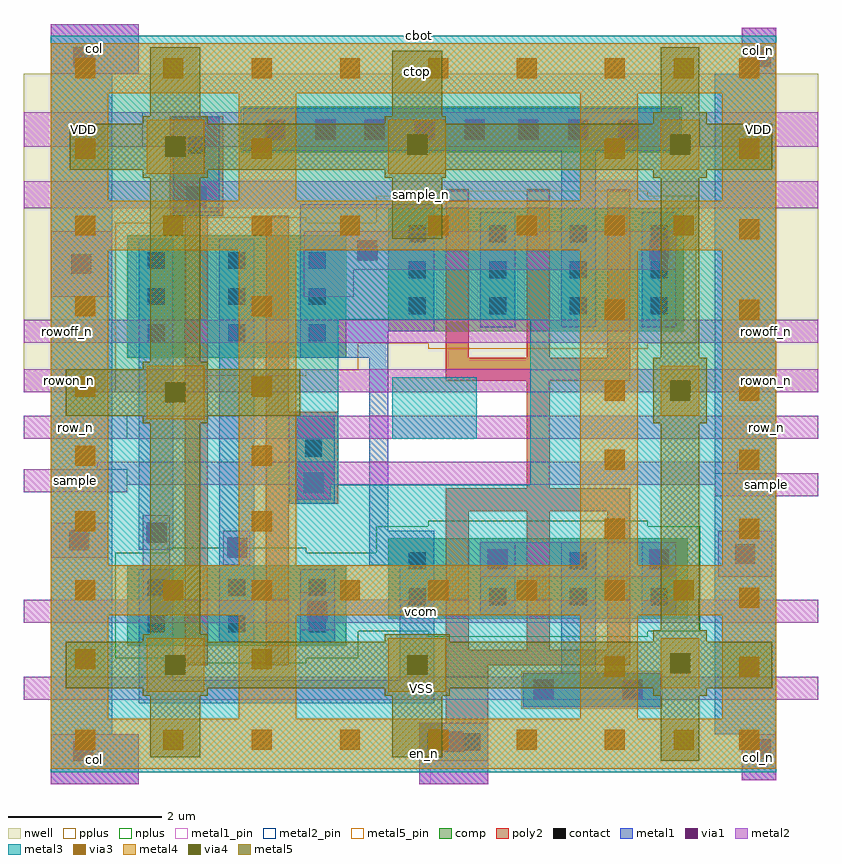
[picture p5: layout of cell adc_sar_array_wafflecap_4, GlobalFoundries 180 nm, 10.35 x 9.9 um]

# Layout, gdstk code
import gdstk
lib = gdstk.Library(unit=1e-6, precision=1e-09)
def R(c, l, rs):  # rectangles x0, y0, x1, y1
    for r in rs: c.add(gdstk.rectangle(r[:2], r[2:], *l))
def A(c, l, x, y, w, h, nx, ny, dx, dy):  # array of equal rectangles
    R(c, l, [(x+i*dx, y+j*dy, x+i*dx+w, y+j*dy+h) for i in range(nx) for j in range(ny)])
nwell = (21, 0)
comp = (22, 0)
poly2 = (30, 0)
pplus = (31, 0)
nplus = (32, 0)
contact = (33, 0)
metal1 = (34, 0)
metal1_pin = (34, 10)
via1 = (35, 0)
metal2 = (36, 0)
metal2_pin = (36, 10)
via3 = (40, 0)
via4 = (41, 0)
metal3 = (42, 0)
metal4 = (46, 0)
metal5 = (81, 0)
metal5_pin = (81, 10)

adc_sar_array_wafflecap_ = lib.new_cell('adc_sar_array_wafflecap_4')
R(adc_sar_array_wafflecap_, nwell, [(-11.85,4.3,-1.5,8.45)])
R(adc_sar_array_wafflecap_, comp, [(-5.35,0.2,-3.55,0.65), (-10.5,1,-7.65,2.05), (-7.1,1.35,-3.2,2.4), (-10.5,4.75,-7.65,6.35), (-7.1,5.1,-3.25,6.7), (-9,7.45,-3.3,8)])
A(adc_sar_array_wafflecap_, poly2, -6.35, 0.95, 0.3, 1.8, 3, 1, 1.05, 0)
A(adc_sar_array_wafflecap_, poly2, -6.35, 4.75, 0.3, 2.2, 3, 1, 1.05, 0)
R(adc_sar_array_wafflecap_, poly2, [(-6.7,-0.5,-5.8,0), (-6.35,0,-5.8,0.75), (-9.75,0.75,-9.45,6.6), (-8.7,0.75,-8.4,2.85), (-6.35,0.75,-3.95,0.95), (-6.35,2.75,-3.95,3.05), (-8.7,2.85,-7.75,4.05), (-5.3,3.05,-5,4.45), (-8.7,4.05,-8.4,6.6), (-6.35,4.45,-3.95,4.75), (-9.95,6.6,-9.25,7.9)])
R(adc_sar_array_wafflecap_, pplus, [(-5.37,0.18,-3.53,0.67), (-9.98,4.52,-8.17,4.59), (-10.66,4.59,-7.49,4.94), (-6.58,4.87,-3.72,4.94), (-10.66,4.94,-3.09,6.51), (-9.98,6.51,-8.17,6.58), (-7.26,6.51,-3.09,6.86), (-6.58,6.86,-3.72,6.93)])
R(adc_sar_array_wafflecap_, nplus, [(-9.98,0.77,-8.17,0.84), (-10.66,0.84,-7.49,1.19), (-6.58,1.12,-3.72,1.19), (-10.66,1.19,-3.04,2.21), (-9.98,2.21,-8.17,2.28), (-7.26,2.21,-3.04,2.56), (-6.58,2.56,-3.72,2.63), (-9.02,7.43,-3.28,8.02)])
A(adc_sar_array_wafflecap_, contact, -10.235, 1.18, 0.22, 0.22, 3, 2, 1.05, 0.47)
A(adc_sar_array_wafflecap_, contact, -6.835, 1.53, 0.22, 0.22, 4, 2, 1.05, 0.47)
A(adc_sar_array_wafflecap_, contact, -10.235, 4.97, 0.22, 0.22, 3, 3, 1.05, 0.47)
A(adc_sar_array_wafflecap_, contact, -6.835, 5.32, 0.22, 0.22, 4, 3, 1.05, 0.47)
A(adc_sar_array_wafflecap_, contact, -8.685, 7.615, 0.22, 0.22, 5, 1, 0.65, 0)
A(adc_sar_array_wafflecap_, contact, -5.385, 7.615, 0.22, 0.22, 3, 1, 0.65, 0)
R(adc_sar_array_wafflecap_, contact, [(-6.595,-0.36,-6.375,-0.14), (-6.125,-0.36,-5.905,-0.14), (-5.185,0.315,-4.965,0.535), (-4.035,0.315,-3.815,0.535), (-8.185,3.465,-7.965,3.685), (-9.71,7.415,-9.49,7.635)])
R(adc_sar_array_wafflecap_, metal1, [(-11.5,-0.8,-10.35,-0.15), (-6.7,-0.8,-5.8,0), (-2.5,-0.75,-2.05,-0.15), (-11.5,-0.15,-10.7,8.45), (-2.85,-0.15,-2.05,8.45), (-5.35,0.2,-3.55,0.65), (-10.35,0.25,-6.5,0.55), (-10.35,0.55,-9.9,2), (-6.95,0.55,-6.5,2.05), (-4.85,0.65,-4.4,2.35), (-9.3,1.05,-8.85,6.3), (-8.25,1.05,-7.8,2), (-5.9,1.4,-5.45,2.35), (-3.8,1.4,-3.35,2.35), (-7.35,2.05,-6.5,2.5), (-10.35,2.25,-9.9,6.3), (-7.35,2.5,-7.1,4.75), (-8.4,2.85,-7.8,4), (-8.25,4.75,-7.1,5.1), (-8.25,5.1,-6.5,6.75), (-5.9,5.15,-5.45,6.65), (-4.85,5.15,-4.4,7.45), (-3.8,5.15,-3.35,6.65), (-9.9,6.6,-9.3,7.9), (-9,7.45,-3.3,8), (-11.5,8.45,-10.35,9.1), (-2.5,8.45,-2.05,9.05)])
R(adc_sar_array_wafflecap_, metal1_pin, [(-6.7,-0.8,-6.55,0), (-2.5,-0.75,-2.05,-0.15), (-2.5,8.45,-2.05,9.05)])
A(adc_sar_array_wafflecap_, via1, -8.705, 7.595, 0.26, 0.26, 5, 1, 0.65, 0)
A(adc_sar_array_wafflecap_, via1, -5.405, 7.595, 0.26, 0.26, 3, 1, 0.65, 0)
R(adc_sar_array_wafflecap_, via1, [(-11.205,-0.505,-10.945,-0.245), (-2.38,-0.48,-2.12,-0.22), (-6.38,-0.38,-6.12,-0.12), (-5.205,0.3,-4.945,0.56), (-4.055,0.3,-3.795,0.56), (-8.155,1.32,-7.895,1.58), (-5.805,1.995,-5.545,2.255), (-3.705,1.995,-3.445,2.255), (-2.58,2.07,-2.32,2.33), (-9.2,2.145,-8.94,2.405), (-11.255,2.245,-10.995,2.505), (-10.25,2.345,-9.99,2.605), (-8.205,2.995,-7.945,3.255), (-11.23,5.845,-10.97,6.105), (-7.505,6.02,-7.245,6.28), (-3.705,6.02,-3.445,6.28), (-9.73,6.72,-9.47,6.98), (-11.205,8.545,-10.945,8.805), (-2.38,8.545,-2.12,8.805)])
R(adc_sar_array_wafflecap_, metal2, [(-11.5,-0.8,-10.35,-0.15), (-6.7,-0.8,-5.8,0), (-2.5,-0.75,-2.05,-0.15), (-5.35,0.2,-3.55,0.3), (-11.85,0.3,-1.5,0.6), (-5.35,0.6,-3.55,0.65), (-8.25,1.2,-7.8,1.3), (-11.85,1.3,-1.5,1.6), (-10.3,1.6,-9.95,2.7), (-8.25,1.6,-7.8,1.7), (-5.9,1.9,-3.35,2.35), (-2.8,1.9,-2.1,2.5), (-9.25,2.05,-8.9,2.5), (-11.5,2.15,-10.75,2.6), (-8.3,2.9,-7.85,3.1), (-2.85,2.95,-1.5,3.1), (-11.85,3,-10.5,3.1), (-11.85,3.1,-1.5,3.25), (-11.85,3.25,-2.55,3.3), (-10.9,3.3,-2.55,3.4), (-11.85,3.7,-1.5,4), (-11.85,4.3,-1.5,4.6), (-11.85,4.95,-1.5,5.25), (-11.5,5.55,-10.7,6.4), (-8.2,5.55,-7.55,5.9), (-8.2,5.9,-3.35,6.4), (-9.9,6.65,-9.3,6.7), (-11.85,6.7,-1.5,7.05), (-11.85,7.5,-1.5,7.95), (-11.5,8.45,-10.35,9.1), (-2.5,8.45,-2.05,9.05)])
R(adc_sar_array_wafflecap_, metal2_pin, [(-11.5,-0.8,-10.35,-0.15), (-11.85,0.3,-1.5,0.6), (-11.85,1.3,-1.5,1.6), (-2.85,2.95,-1.5,3.25), (-11.85,3,-10.5,3.3), (-11.85,3.7,-10.5,4), (-2.85,3.7,-1.5,4), (-11.85,4.3,-10.65,4.6), (-2.85,4.3,-1.5,4.6), (-11.85,4.95,-10.7,5.25), (-2.85,4.95,-1.5,5.25), (-11.85,6.7,-1.5,7.05), (-11.85,7.5,-10.3,7.95), (-3.05,7.5,-1.5,7.95), (-11.5,8.45,-10.35,9.1)])
A(adc_sar_array_wafflecap_, via3, -11.18, -0.355, 0.26, 0.26, 7, 2, 1.15, 1.95)
A(adc_sar_array_wafflecap_, via3, -2.53, 0.595, 0.26, 0.26, 1, 5, 0, 0.9)
A(adc_sar_array_wafflecap_, via3, -4.28, 2.395, 0.26, 0.26, 1, 3, 0, 0.9)
A(adc_sar_array_wafflecap_, via3, -2.53, 5.245, 0.26, 0.26, 1, 4, 0, 1.05)
A(adc_sar_array_wafflecap_, via3, -11.18, 6.345, 0.26, 0.26, 7, 2, 1.15, 2.05)
R(adc_sar_array_wafflecap_, via3, [(-3.38,-0.355,-3.12,-0.095), (-2.53,-0.355,-2.27,-0.095), (-4.28,0.595,-4.02,0.855), (-11.18,0.695,-10.92,0.955), (-8.88,0.695,-8.62,0.955), (-3.38,1.595,-3.12,1.855), (-11.18,2.495,-10.92,2.755), (-8.88,2.495,-8.62,2.755), (-11.18,3.345,-10.92,3.605), (-8.88,3.345,-8.62,3.605), (-11.18,4.245,-10.92,4.505), (-8.88,4.245,-8.62,4.505), (-4.28,5.245,-4.02,5.505), (-11.18,5.295,-10.92,5.555), (-8.88,5.295,-8.62,5.555), (-3.38,6.345,-3.12,6.605), (-11.18,7.345,-10.92,7.605), (-8.88,7.345,-8.62,7.605), (-4.28,7.345,-4.02,7.605), (-3.38,8.395,-3.12,8.655)])
R(adc_sar_array_wafflecap_, via4, [(-10.005,0.62,-9.745,0.88), (-6.855,0.62,-6.595,0.88), (-3.43,0.645,-3.17,0.905), (-10.005,4.17,-9.745,4.43), (-3.43,4.195,-3.17,4.455), (-10.005,7.37,-9.745,7.63), (-6.855,7.395,-6.595,7.655), (-3.43,7.395,-3.17,7.655)])
R(adc_sar_array_wafflecap_, metal3, [(-11.5,-0.65,-2.05,3.1), (-11.5,3.1,-7.75,5.25), (-5.25,3.1,-2.05,5.25), (-7.05,3.7,-5.95,4.5), (-11.5,5.25,-2.05,8.95)])
R(adc_sar_array_wafflecap_, metal4, [(-11.5,-0.6,-2.05,0.05), (-11.5,0.05,-10.75,1.4), (-9.05,0.05,-8.3,1.4), (-4.6,0.05,-3.85,1.4), (-2.75,0.05,-2.05,1.4), (-10.25,0.4,-9.5,1.1), (-7.1,0.4,-6.35,1.1), (-3.55,0.45,-3.05,1.1), (-11.5,1.4,-2.05,2.05), (-11.5,2.05,-10.75,6.15), (-9.05,2.05,-8.3,6.15), (-4.6,2.05,-3.85,6.15), (-2.75,2.05,-2.05,6.15), (-10.25,3.95,-9.5,4.65), (-3.55,4,-3.05,4.65), (-11.5,6.15,-2.05,6.8), (-11.5,6.8,-10.75,8.2), (-9.05,6.8,-8.3,8.2), (-4.6,6.8,-3.85,8.2), (-2.75,6.8,-2.05,8.2), (-10.25,7.15,-9.5,7.85), (-7.1,7.15,-6.35,7.85), (-3.55,7.2,-3.05,7.85), (-11.5,8.2,-2.05,8.85)])
R(adc_sar_array_wafflecap_, metal5, [(-3.55,-0.5,-3.05,0.35), (-10.2,-0.45,-9.55,0.35), (-7.05,-0.45,-6.4,0.35), (-10.3,0.35,-9.45,0.45), (-7.15,0.35,-6.3,0.45), (-3.65,0.35,-2.95,0.45), (-11.3,0.45,-2.1,1.05), (-10.3,1.05,-9.45,1.15), (-7.15,1.05,-6.3,1.15), (-3.65,1.05,-2.95,1.2), (-10.2,1.15,-9.55,3.9), (-3.55,1.2,-3.05,3.9), (-10.3,3.9,-9.45,4), (-3.65,3.9,-2.95,4.75), (-11.3,4,-8.25,4.6), (-10.3,4.6,-9.45,4.7), (-10.2,4.7,-9.55,7.1), (-3.55,4.75,-3.05,7.1), (-7.05,6.3,-6.4,7.1), (-10.3,7.1,-9.45,7.2), (-7.15,7.1,-6.35,7.2), (-3.65,7.1,-2.95,7.2), (-11.25,7.2,-2.1,7.8), (-10.3,7.8,-9.45,7.9), (-7.15,7.8,-6.35,7.9), (-3.65,7.8,-2.95,7.95), (-10.2,7.9,-9.55,8.8), (-7.05,7.9,-6.4,8.75), (-3.55,7.95,-3.05,8.8)])
R(adc_sar_array_wafflecap_, metal5_pin, [(-7.05,8.2,-6.4,8.75)])
adc_sar_array_wafflecap_.add(gdstk.Label('VDD', (-11.075,7.725), layer=36, texttype=10))
adc_sar_array_wafflecap_.add(gdstk.Label('VDD', (-2.275,7.725), layer=36, texttype=10))
adc_sar_array_wafflecap_.add(gdstk.Label('VSS', (-6.675,0.45), layer=36, texttype=10))
adc_sar_array_wafflecap_.add(gdstk.Label('sample_n', (-6.675,6.875), layer=36, texttype=10))
adc_sar_array_wafflecap_.add(gdstk.Label('rowoff_n', (-11.275,5.1), layer=36, texttype=10))
adc_sar_array_wafflecap_.add(gdstk.Label('rowoff_n', (-2.175,5.1), layer=36, texttype=10))
adc_sar_array_wafflecap_.add(gdstk.Label('rowon_n', (-11.25,4.45), layer=36, texttype=10))
adc_sar_array_wafflecap_.add(gdstk.Label('rowon_n', (-2.175,4.45), layer=36, texttype=10))
adc_sar_array_wafflecap_.add(gdstk.Label('row_n', (-11.175,3.85), layer=36, texttype=10))
adc_sar_array_wafflecap_.add(gdstk.Label('row_n', (-2.175,3.85), layer=36, texttype=10))
adc_sar_array_wafflecap_.add(gdstk.Label('vcom', (-6.675,1.45), layer=36, texttype=10))
adc_sar_array_wafflecap_.add(gdstk.Label('en_n', (-6.625,-0.4), layer=34, texttype=10))
adc_sar_array_wafflecap_.add(gdstk.Label('col_n', (-2.275,-0.45), layer=34, texttype=10))
adc_sar_array_wafflecap_.add(gdstk.Label('col_n', (-2.275,8.75), layer=34, texttype=10))
adc_sar_array_wafflecap_.add(gdstk.Label('col', (-10.925,8.775), layer=36, texttype=10))
adc_sar_array_wafflecap_.add(gdstk.Label('col', (-10.925,-0.475), layer=36, texttype=10))
adc_sar_array_wafflecap_.add(gdstk.Label('sample', (-2.175,3.1), layer=36, texttype=10))
adc_sar_array_wafflecap_.add(gdstk.Label('sample', (-11.175,3.15), layer=36, texttype=10))
adc_sar_array_wafflecap_.add(gdstk.Label('ctop', (-6.725,8.475), layer=81, texttype=10))
adc_sar_array_wafflecap_.add(gdstk.Label('cbot', (-6.7,8.95), layer=42, texttype=10))

lib.write_gds('adc_sar_array_wafflecap_4.gds')
